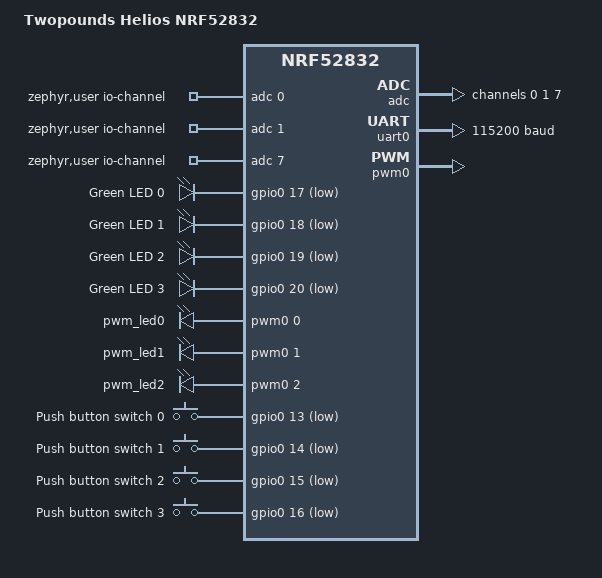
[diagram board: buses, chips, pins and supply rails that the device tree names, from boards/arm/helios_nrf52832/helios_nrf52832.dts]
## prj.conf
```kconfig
# nothing here
CONFIG_CONSOLE_SUBSYS=y
CONFIG_CONSOLE_GETLINE=y
CONFIG_NEWLIB_LIBC=y
CONFIG_GPIO=y
CONFIG_PWM=y
CONFIG_ADC=y
```

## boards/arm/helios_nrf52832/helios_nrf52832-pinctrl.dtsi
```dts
/*
 * Copyright (c) 2022 Nordic Semiconductor
 * SPDX-License-Identifier: Apache-2.0
 */

&pinctrl {
	uart0_default: uart0_default {
		group1 {
			psels = <NRF_PSEL(UART_TX, 0, 6)>,
				<NRF_PSEL(UART_RX, 0, 8)>,
				<NRF_PSEL(UART_RTS, 0, 5)>,
				<NRF_PSEL(UART_CTS, 0, 7)>;
		};
	};

	uart0_sleep: uart0_sleep {
		group1 {
			psels = <NRF_PSEL(UART_TX, 0, 6)>,
				<NRF_PSEL(UART_RX, 0, 8)>,
				<NRF_PSEL(UART_RTS, 0, 5)>,
				<NRF_PSEL(UART_CTS, 0, 7)>;
			low-power-enable;
		};
	};

	pwm0_default: pwm0_default {
		group1 {
			psels = <NRF_PSEL(PWM_OUT0, 0, 17)>,
				<NRF_PSEL(PWM_OUT1, 0, 18)>,
				<NRF_PSEL(PWM_OUT2, 0, 19)>;
				nordic,invert;
		};
	};

	pwm0_sleep: pwm0_sleep {
		group1 {
			psels = <NRF_PSEL(PWM_OUT0, 0, 17)>,
				<NRF_PSEL(PWM_OUT1, 0, 18)>,
				<NRF_PSEL(PWM_OUT2, 0, 19)>;
				 low-power-enable;
		};
	};
};
```

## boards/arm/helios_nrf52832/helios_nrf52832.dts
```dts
/*
 * Copyright (c) 2017 Shawn Nock <shawn@monadnock.ca>
 * Copyright (c) 2017 Linaro Limited
 *
 * SPDX-License-Identifier: Apache-2.0
 */

 /dts-v1/;
 #include <nordic/nrf52832_qfaa.dtsi>
 #include "helios_nrf52832-pinctrl.dtsi"
 
 / {
	 model = "Twopounds Helios NRF52832";
	 compatible = "twopounds,helios-nrf52832";
 
	 zephyr,user {
		io-channels = <&adc 0>, <&adc 1>, <&adc 7>;
	};


	 chosen {
		 zephyr,console = &uart0;
		 zephyr,shell-uart = &uart0;
		 zephyr,uart-mcumgr = &uart0;
		 zephyr,bt-mon-uart = &uart0;
		 zephyr,bt-c2h-uart = &uart0;
		 zephyr,sram = &sram0;
		 zephyr,flash = &flash0;
		 zephyr,code-partition = &slot0_partition;
	 };
 
	 leds {
		 compatible = "gpio-leds";
		 led0: led_0 {
			 gpios = <&gpio0 17 GPIO_ACTIVE_LOW>;
			 label = "Green LED 0";
		 };
		 led1: led_1 {
			 gpios = <&gpio0 18 GPIO_ACTIVE_LOW>;
			 label = "Green LED 1";
		 };
		 led2: led_2 {
			 gpios = <&gpio0 19 GPIO_ACTIVE_LOW>;
			 label = "Green LED 2";
		 };
		 led3: led_3 {
			 gpios = <&gpio0 20 GPIO_ACTIVE_LOW>;
			 label = "Green LED 3";
		 };
	 };
 
	 pwmleds {
		 compatible = "pwm-leds";
		 pwm_led0: pwm_led_0 {
			 pwms = <&pwm0 0 PWM_MSEC(20) PWM_POLARITY_INVERTED>;
		 };
		 pwm_led1: pwm_led_1 {
			pwms = <&pwm0 1 PWM_MSEC(20) PWM_POLARITY_INVERTED>;
		};
		pwm_led2: pwm_led_2 {
			pwms = <&pwm0 2 PWM_MSEC(20) PWM_POLARITY_INVERTED>;
		};
	 };
 
	 buttons {
		 compatible = "gpio-keys";
		 button0: button_0 {
			 gpios = <&gpio0 13 (GPIO_PULL_UP | GPIO_ACTIVE_LOW)>;
			 label = "Push button switch 0";
		 };
		 button1: button_1 {
			 gpios = <&gpio0 14 (GPIO_PULL_UP | GPIO_ACTIVE_LOW)>;
			 label = "Push button switch 1";
		 };
		 button2: button_2 {
			 gpios = <&gpio0 15 (GPIO_PULL_UP | GPIO_ACTIVE_LOW)>;
			 label = "Push button switch 2";
		 };
		 button3: button_3 {
			 gpios = <&gpio0 16 (GPIO_PULL_UP | GPIO_ACTIVE_LOW)>;
			 label = "Push button switch 3";
		 };
	 };
 
	 /* These aliases are provided for compatibility with samples */
	 aliases {
		 led0 = &led0;
		 led1 = &led1;
		 led2 = &led2;
		 led3 = &led3;
		 pwm-led0 = &pwm_led0;
		 pwm-led1 = &pwm_led1;
		 pwm-led2 = &pwm_led2;

		 sw0 = &button0;
		 sw1 = &button1;
		 sw2 = &button2;
		 sw3 = &button3;
		 bootloader-led0 = &led0;
		 mcuboot-button0 = &button0;
		 mcuboot-led0 = &led0;
		 watchdog0 = &wdt0;
	 };
 };
 
 &adc {
	 status = "okay";
 };
 
 &gpiote {
	 status = "okay";
 };
 
 &gpio0 {
	 status = "okay";
 };
 
 arduino_serial: &uart0 {
	 status = "okay";
	 compatible = "nordic,nrf-uarte";
	 current-speed = <115200>;
	 pinctrl-0 = <&uart0_default>;
	 pinctrl-1 = <&uart0_sleep>;
	 pinctrl-names = "default", "sleep";
 };
 

 &pwm0 {
	 status = "okay";
	 pinctrl-0 = <&pwm0_default>;
	 pinctrl-1 = <&pwm0_sleep>;
	 pinctrl-names = "default", "sleep";
 };
 &adc {
	#address-cells = <1>;
	#size-cells = <0>;

	channel@0 {
		reg = <0>;
		zephyr,gain = "ADC_GAIN_1_6";
		zephyr,reference = "ADC_REF_INTERNAL";
		zephyr,acquisition-time = <ADC_ACQ_TIME_DEFAULT>;
		zephyr,input-positive = <NRF_SAADC_AIN1>; /* P0.03 */
		zephyr,resolution = <12>;
	};

	channel@1 {
		reg = <1>;
		zephyr,gain = "ADC_GAIN_1_6";
		zephyr,reference = "ADC_REF_INTERNAL";
		zephyr,acquisition-time = <ADC_ACQ_TIME_DEFAULT>;
		zephyr,input-positive = <NRF_SAADC_VDD>;
		zephyr,resolution = <14>;
		zephyr,oversampling = <8>;
	};

	channel@7 {
		reg = <7>;
		zephyr,gain = "ADC_GAIN_1_5";
		zephyr,reference = "ADC_REF_VDD_1_4";
		zephyr,vref-mv = <750>;
		zephyr,acquisition-time = <ADC_ACQ_TIME_DEFAULT>;
		zephyr,input-positive = <NRF_SAADC_AIN6>; /* P0.30 */
		zephyr,input-negative = <NRF_SAADC_AIN7>; /* P0.31 */
		zephyr,resolution = <12>;
	};
};

 &flash0 {
 
	 partitions {
		 compatible = "fixed-partitions";
		 #address-cells = <1>;
		 #size-cells = <1>;
 
		 boot_partition: partition@0 {
			 label = "mcuboot";
			 reg = <0x00000000 0xc000>;
		 };
		 slot0_partition: partition@c000 {
			 label = "image-0";
			 reg = <0x0000C000 0x37000>;
		 };
		 slot1_partition: partition@43000 {
			 label = "image-1";
			 reg = <0x00043000 0x37000>;
		 };
		 storage_partition: partition@7a000 {
			 label = "storage";
			 reg = <0x0007a000 0x00006000>;
		 };
	 };
 };
```

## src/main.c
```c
/*
 * Copyright (c) 2012-2014 Wind River Systems, Inc.
 *
 * SPDX-License-Identifier: Apache-2.0
 */

#include <zephyr/kernel.h>
#include <zephyr/sys/printk.h>
#include <zephyr/console/console.h>

#include <zephyr/device.h>
#include <zephyr/devicetree.h>
#include <zephyr/sys/util.h>
#include <zephyr/drivers/gpio.h>
#include <zephyr/drivers/pwm.h>
#include <zephyr/drivers/adc.h>

#include <stdio.h>
#include <stdlib.h>
#include <string.h> 

#define BUFFER_LENGTH 255

/* SW0_NODE is the devicetree node identifier for the node with alias "sw0" */
#define SW0_NODE	DT_ALIAS(sw0) 
#define SW1_NODE	DT_ALIAS(sw1) 
static const struct gpio_dt_spec button1 = GPIO_DT_SPEC_GET(SW0_NODE, gpios);
static const struct gpio_dt_spec button2 = GPIO_DT_SPEC_GET(SW1_NODE, gpios);

/* LED0_NODE is the devicetree node identifier for the node with alias "led0". */
#define LED0_NODE	DT_ALIAS(led3)
static const struct gpio_dt_spec led = GPIO_DT_SPEC_GET(LED0_NODE, gpios);

/* PWM nodes with alias pwm_led0, pwm_led1, pwm_led2                           */
static const struct pwm_dt_spec pwm_led0 = PWM_DT_SPEC_GET(DT_ALIAS(pwm_led0));
static const struct pwm_dt_spec pwm_led1 = PWM_DT_SPEC_GET(DT_ALIAS(pwm_led1));
static const struct pwm_dt_spec pwm_led2 = PWM_DT_SPEC_GET(DT_ALIAS(pwm_led2));
#define PWM_PERIOD 10000 

/* ADC Nodes from devicetree */
#if !DT_NODE_EXISTS(DT_PATH(zephyr_user)) || \
	!DT_NODE_HAS_PROP(DT_PATH(zephyr_user), io_channels)
#error "No suitable devicetree overlay specified"
#endif

#define DT_SPEC_AND_COMMA(node_id, prop, idx) \
	ADC_DT_SPEC_GET_BY_IDX(node_id, idx),

/* Data of ADC io-channels specified in devicetree. */
static const struct adc_dt_spec adc_channels[] = {
	DT_FOREACH_PROP_ELEM(DT_PATH(zephyr_user), io_channels,
			     DT_SPEC_AND_COMMA)
};


static char command_string[BUFFER_LENGTH];
static char address_string[BUFFER_LENGTH];
static char data_string[BUFFER_LENGTH];
static char option_string[BUFFER_LENGTH];


//static char input_string[BUFFER_LENGTH] ; 
char *input_string;
uint8_t helios_state1=0;
uint8_t helios_state2=0;

char version[]="Helios TIIMax SW200219A (c) joachim willner 22.8.2023\n";

#define HELP_MEMBERS 9
char help_text[HELP_MEMBERS][BUFFER_LENGTH]=
{
"VERSION or V -> to show Versionh\n",
"HELP or H -> to show Help\n",
"PWM or P  with CH1,CH2,CH3 or 1,2,3 and Value from 0.100 -> to set pwm\n",
"ADC or A with CH1,CH2,CH3 or 1,2,3 -> to read adc \n",
"STATE or S -> to read state\n",
"\n",
"\n",
"\n",
"\n"
};

void button1_pressed(const struct device *dev, struct gpio_callback *cb, uint32_t pins)
{
    gpio_pin_toggle_dt(&led);
	helios_state1++;
}

void button2_pressed(const struct device *dev, struct gpio_callback *cb, uint32_t pins)
{
    gpio_pin_toggle_dt(&led);
	helios_state2++ ;
}

static struct gpio_callback button1_cb_data;
static struct gpio_callback button2_cb_data;

void interrupt_and_gpio_init(void)
{
	int ret;
	if (!device_is_ready(led.port)) {
		return;
	}
	if (!device_is_ready(button1.port)) {
		return;
	}
	if (!device_is_ready(button2.port)) {
		return;
	}
	ret = gpio_pin_configure_dt(&led, GPIO_OUTPUT_ACTIVE);
	if (ret < 0) {
		return;
	}
	ret = gpio_pin_configure_dt(&button1, GPIO_INPUT);
	if (ret < 0) {
		return;
	}
	ret = gpio_pin_configure_dt(&button2, GPIO_INPUT);
	if (ret < 0) {
		return;
	}
	ret = gpio_pin_interrupt_configure_dt(&button1, GPIO_INT_EDGE_TO_ACTIVE);
	ret = gpio_pin_interrupt_configure_dt(&button2, GPIO_INT_EDGE_TO_ACTIVE);	
    gpio_init_callback(&button1_cb_data, button1_pressed, BIT(button1.pin)); 	
    gpio_init_callback(&button2_cb_data, button2_pressed, BIT(button2.pin)); 
	gpio_add_callback(button1.port, &button1_cb_data);
	gpio_add_callback(button2.port, &button2_cb_data);	
}          

void pwm_init(void)
{
	if (!device_is_ready(pwm_led0.dev)) {
		printk("Error: PWM device %s is not ready\n",
				pwm_led0.dev->name);
	}

	if (!device_is_ready(pwm_led1.dev)) {
		printk("Error: PWM device %s is not ready\n",
				pwm_led1.dev->name);
		}
	
	if (!device_is_ready(pwm_led2.dev)) {
		printk("Error: PWM device %s is not ready\n",
				pwm_led2.dev->name);
	}
}

void adc_init(void)
{
	int err;
	/* Configure channels individually prior to sampling. */

		if (!device_is_ready(adc_channels[0].dev)) {
			printk("ADC controller device %s not ready\n", adc_channels[0].dev->name);
			return 0;
		}


		err = adc_channel_setup_dt(&adc_channels[0]);
		if (err < 0) {
			printk("Could not setup channel #0 (%d)\n", err);
		}
		err = adc_channel_setup_dt(&adc_channels[1]);
		if (err < 0) {
			printk("Could not setup channel #1 (%d)\n", err);
		}
		err = adc_channel_setup_dt(&adc_channels[2]);
		if (err < 0) {
			printk("Could not setup channel #2 (%d)\n", err);
		}
        if(err<0) return; 
}

//--adc--------------------------------------------------------------------------------------------------

int32_t read_adc(uint8_t channel)
{
	int err;
	uint16_t buf;
	int32_t val_mv;
	struct adc_sequence sequence = {
		.buffer = &buf,
		/* buffer size in bytes, not number of samples */
		.buffer_size = sizeof(buf),
	};

    switch(channel){
	case 1:
		(void)adc_sequence_init_dt(&adc_channels[0], &sequence);
			err = adc_read(adc_channels[0].dev, &sequence);
			if (err < 0) {
				printk("Could not read channel0 err=(%d)\n", err);
            	return;
			}
			val_mv = (int32_t)buf;
		break;
		
    case 2: 
				(void)adc_sequence_init_dt(&adc_channels[1], &sequence);
			err = adc_read(adc_channels[1].dev, &sequence);
			if (err < 0) {
				printk("Could not read channel1 err=(%d)\n", err);
            	return;
			}
			val_mv = (int32_t)buf;
		break;
	case 3:
			(void)adc_sequence_init_dt(&adc_channels[2], &sequence);
			err = adc_read(adc_channels[2].dev, &sequence);
			if (err < 0) {
				printk("Could not read channel2(%d)\n", err);
			    return;
			}
			val_mv = (int32_t)buf;
		break;
    default:
	        val_mv = -32768;
	}
	return(val_mv);
}


void command_interpreter(void)
{
	char *input_string = console_getline();
	input_string = strupr(input_string);
	sscanf(input_string,"%s %s %s %s",command_string,address_string,data_string,option_string);
	printk("command=%s address=%s data=%s option=%s\n",command_string,address_string,data_string,option_string);

 //--help---------------------------------------------------------------------------------------
  if((strcmp("HELP",command_string)==0)||(strcmp("H",command_string)==0))
  {
      for (int i = 0; i < HELP_MEMBERS; i++)
      {
        printk("%s", help_text[i]);
      }
      return;
  }

 //--version----------------------------------------------------------------------------------
  if((strcmp("VERSION",command_string)==0)||(strcmp("V",command_string)==0))
  {
      printk("%s", version);
      return;
  }

   //--state----------------------------------------------------------------------------------
  if((strcmp("STATE",command_string)==0)||(strcmp("S",command_string)==0))
  {
	  printk("Helios-State1 = %d Helios-State2 = %d\n",helios_state1,helios_state2);
      return;
  }

   //--pwm----------------------------------------------------------------------------------
  if((strcmp("PWM",command_string)==0)||(strcmp("P",command_string)==0))
  {
      if((strcmp("CH1",address_string)==0)||(strcmp("1",address_string)==0))
	  {
		uint8_t pwm_value;
		pwm_value = atoi(data_string);
		if((pwm_value>-1)||(pwm_value<101))
		{
			pwm_set_dt(&pwm_led0, PWM_PERIOD, 100*pwm_value);
			return;
		}
		printk("out of value range");
		return;
	  }

      if((strcmp("CH2",address_string)==0)||(strcmp("2",address_string)==0))
	  {
		uint8_t pwm_value;
		pwm_value = atoi(data_string);
		if((pwm_value>-1)||(pwm_value<101))
		{
			pwm_set_dt(&pwm_led1, PWM_PERIOD, 100*pwm_value);
			return;
		}
		printk("out of value range");
		return;
	  }

	  if((strcmp("CH3",address_string)==0)||(strcmp("3",address_string)==0))
	  {
		uint8_t pwm_value;
		pwm_value = atoi(data_string);
		if((pwm_value>-1)||(pwm_value<101))
		{
			pwm_set_dt(&pwm_led2, PWM_PERIOD, 100*pwm_value);
			return;
		}
		printk("out of value range");
		return;
	  }
      return;
  }

   //--adc----------------------------------------------------------------------------------
  if((strcmp("ADC",command_string)==0)||(strcmp("A",command_string)==0))
  {
	  int32_t adc_value;
      if((strcmp("CH1",address_string)==0)||(strcmp("1",address_string)==0))
	  {
		adc_value = read_adc(1);
		printk("%d\n",adc_value);
		return;
	  }

      if((strcmp("CH2",address_string)==0)||(strcmp("2",address_string)==0))
	  {
		adc_value = read_adc(2);
		printk("%d\n",adc_value);
		return;
	  }

	  if((strcmp("CH3",address_string)==0)||(strcmp("3",address_string)==0))
	  {
		adc_value = read_adc(3);
		printk("%d\n",adc_value);
		return;
	  }
      return;
  }

  //--no valid command----------------------------------------------------------------------------------
   printk("no valid command found\n");
}


int main(void)
{	
	interrupt_and_gpio_init();
	pwm_init();
	adc_init();

	console_getline_init();
	printk("enter some text for gpio control...\n");
	while(1)
	{
			//char *s = console_getline();
            command_interpreter();
			k_msleep(100);
	} 
}
```
